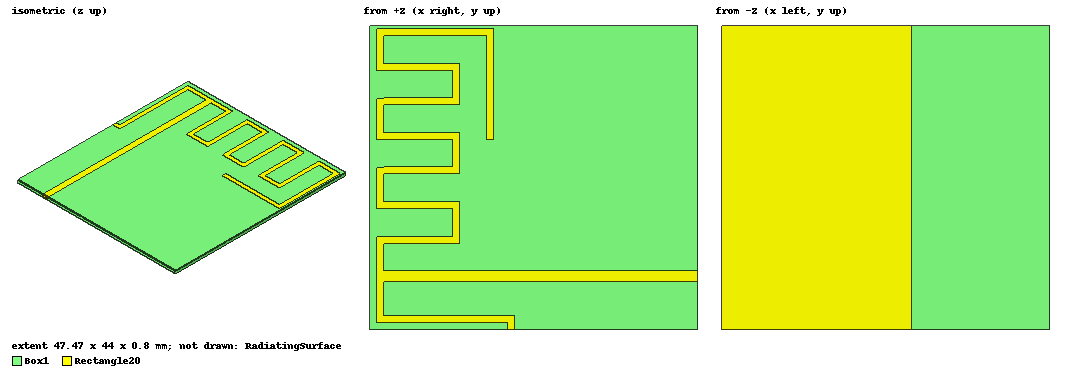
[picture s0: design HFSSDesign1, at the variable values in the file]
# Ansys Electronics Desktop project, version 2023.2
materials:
  vacuum: permittivity=1
  air: permittivity=1.0006 permeability=1.0000004
  FR4_epoxy: permittivity=4.4 dielectric_loss_tangent=0.02
  copper: permeability=0.999991 conductivity=58000000

design HFSSDesign1 (HFSS, HFSS Terminal Network, model units mm)
options: open_region{BoundaryType=0 OpFreq=5GHz}
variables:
  w = 1mm
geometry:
  feed = rectangle(corner=(0mm, 0mm, 0mm), x_size=46.467217mm, y_size=1.47927mm)
  Rectangle2 = rectangle(corner=(1mm, -6mm, 0mm), x_size=19mm, y_size=w)
  Rectangle3 = rectangle(corner=(0mm, -6mm, 0mm), x_size=1mm, y_size=6mm)
  Rectangle4 = rectangle(corner=(0mm, 1.47927mm, 0mm), x_size=1mm, y_size=5mm)
  Rectangle5 = rectangle(corner=(1mm, 5.5mm, 0mm), x_size=11mm, y_size=1mm)
  Rectangle6 = rectangle(corner=(11mm, 6.5mm, 0mm), x_size=1mm, y_size=5mm)
  Rectangle7 = rectangle(corner=(11mm, 11.5mm, 0mm), x_size=-11mm, y_size=-1mm)
  Rectangle4.unite(Rectangle5, Rectangle6, Rectangle7)
  Rectangle8 = rectangle(corner=(0mm, 1.47927mm, 0mm), x_size=1mm, y_size=5mm)
  Rectangle9 = rectangle(corner=(1mm, 5.5mm, 0mm), x_size=11mm, y_size=1mm)
  Rectangle10 = rectangle(corner=(11mm, 6.5mm, 0mm), x_size=1mm, y_size=5mm)
  Rectangle11 = rectangle(corner=(11mm, 11.5mm, 0mm), x_size=-11mm, y_size=-1mm)
  Rectangle8.unite(Rectangle9, Rectangle10, Rectangle11)
  Rectangle8.move(0mm, 10.02073mm, 0mm)
  Rectangle12 = rectangle(corner=(0mm, 1.47927mm, 0mm), x_size=1mm, y_size=5mm)
  Rectangle13 = rectangle(corner=(1mm, 5.5mm, 0mm), x_size=11mm, y_size=1mm)
  Rectangle14 = rectangle(corner=(11mm, 6.5mm, 0mm), x_size=1mm, y_size=5mm)
  Rectangle15 = rectangle(corner=(11mm, 11.5mm, 0mm), x_size=-11mm, y_size=-1mm)
  Rectangle12.unite(Rectangle13, Rectangle14, Rectangle15)
  Rectangle12.move(0mm, 10.02073mm, 0mm)
  Rectangle12.move(0mm, 10mm, 0mm)
  Rectangle16 = rectangle(corner=(0mm, 31.52073mm, 0mm), x_size=1mm, y_size=5mm)
  Rectangle17 = rectangle(corner=(1mm, 35.5mm, 0mm), x_size=8mm, y_size=1mm)
  Rectangle17.unite(Rectangle16, Rectangle12, Rectangle8, Rectangle4)
  Box1 [FR4_epoxy] = box(corner=(-1mm, -7mm, 0mm), size=(47.467217mm, 44mm, -0.8mm))
  feed.unite(Rectangle17)
  feed.unite(Rectangle3, Rectangle2)
  gnd = rectangle(corner=(46.467217mm, 37mm, -0.8mm), x_size=-27.467217mm, y_size=-44mm)
  Rectangle18 = rectangle(corner=(20mm, -6mm, 0mm), x_size=-1mm, y_size=-1mm)
  Rectangle19 = rectangle(corner=(19mm, -7mm, 0mm), z_size=-0.8mm, x_size=1mm)
  Rectangle19.unite(Rectangle18)
  gnd.unite(Rectangle19)
  gnd.unite(feed)
  Rectangle20 = rectangle(corner=(46.467217mm, 1.47927mm, 0mm), y_size=-1.47927mm, z_size=-0.6mm)
  Rectangle20.unite(gnd)
  RadiatingSurface [vacuum] = region(absolute_offset=20mm on all sides)
  Rectangle21 = rectangle(corner=(9mm, 35.5mm, 0mm), x_size=8mm, y_size=1mm)
  Rectangle20.unite(Rectangle21)
  Rectangle22 = rectangle(corner=(17mm, 35.5mm, 0mm), x_size=-1mm, y_size=-15mm)
  Rectangle20.unite(Rectangle22)
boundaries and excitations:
  FiniteCond1: Finite Conductivity Faces=Rectangle20.face(at (23.2336, 14.7604, 0), at (19.5, -7, -0.4), at (32.7336, 15, -0.8)) UseMaterial Material=copper IsInternal
  AutoOpen1: Radiation Objects=RadiatingSurface
  1: Lumped Port Faces=Rectangle20.face(at (46.4672, 0.739635, -0.3)) LumpedPortType=Modal Modes{Mode1{IntLine{(46.467217, 0.73963499, -0.6) -> (46.467217, 0.73963499, 0)} CharImp=Zpi}} Impedance=50ohm
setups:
  Auto1: HfssDriven Frequency=5GHz MaxDeltaS=0.02 MaximumPasses=99 MinimumPasses=1 MinimumConvergedPasses=1 PercentRefinement=30 BasisOrder=1 PortAccuracy=2 DrivenSolverType="Auto Select Direct/Iterative"
    sweep Sweep: 0.5GHz to 3.5GHz, 401 points; Type=Interpolating InterpTolerance=0.5 InterpMaxSolns=250 PassivityErrorTolerance=0.0001
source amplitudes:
  1:1: 1V 0deg
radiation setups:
  3D: Infinite Sphere Theta=0deg..180deg step 2deg Phi=-180deg..180deg step 2deg
  Elevation: Infinite Sphere Theta=-180deg..180deg step 1deg Phi=0deg..90deg step 90deg
  Azimuth: Infinite Sphere Theta=90deg..90deg step 0deg Phi=-180deg..180deg step 1deg
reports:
  Terminal S Parameter Plot 1: dB(St(1,1)) vs Freq on Auto1 : Sweep
